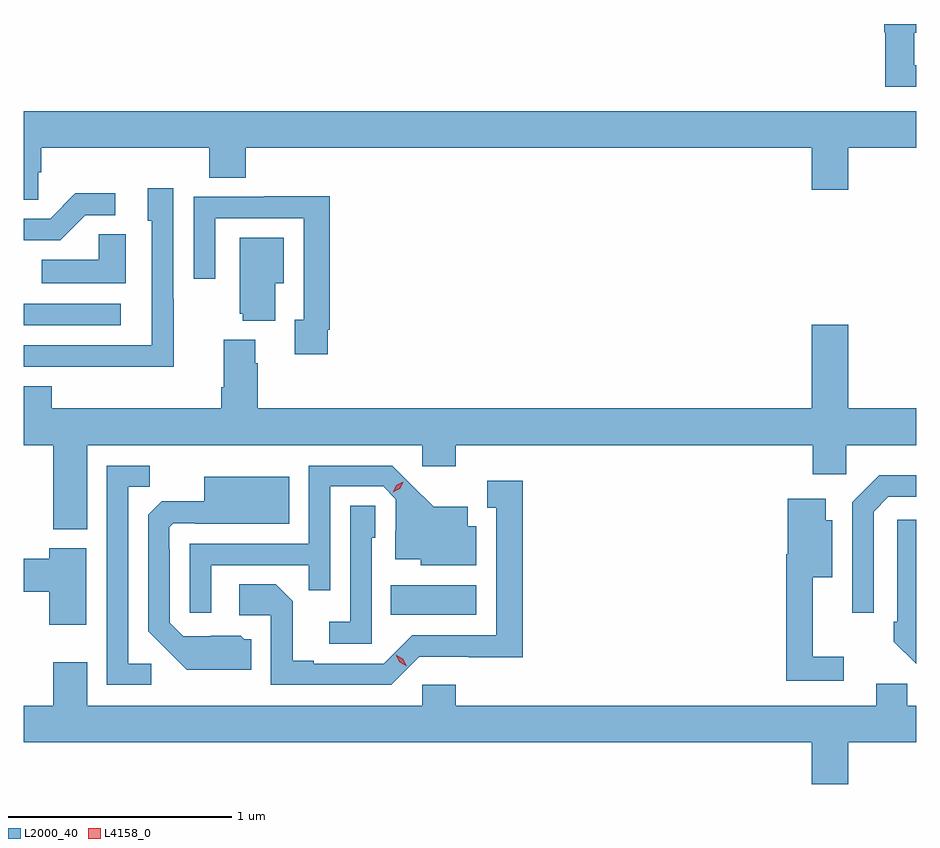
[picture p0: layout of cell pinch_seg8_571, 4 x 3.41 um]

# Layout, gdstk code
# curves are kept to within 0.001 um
import gdstk
lib = gdstk.Library(unit=1e-6, precision=1e-09)
def R(c, l, rs):  # rectangles x0, y0, x1, y1
    for r in rs: c.add(gdstk.rectangle(r[:2], r[2:], *l))
def P(c, l, *ps):  # polygons
    for p in ps: c.add(gdstk.Polygon(p, *l))
L2000_40 = (2000, 40)
L4158_0 = (4158, 0)

pinch_seg8_571 = lib.new_cell('pinch_seg8_571')
R(pinch_seg8_571, L2000_40, [(163.12,1083.77,163.504,1083.904), (161.475,1085.07,161.908,1085.166)])
P(pinch_seg8_571, L2000_40, [(165.475,1086.235),(165.466,1086.235),(165.466,1086.38),(165.475,1086.38),(165.475,1086.42),(165.332,1086.42),(165.332,1086.384),(165.337,1086.384),(165.337,1086.138),(165.475,1086.138)],
  [(161.538,1085.755),(161.552,1085.755),(161.552,1085.864),(162.305,1085.864),(162.305,1085.731),(162.47,1085.731),(162.47,1085.864),(165.008,1085.864),(165.008,1085.676),(165.172,1085.676),(165.172,1085.864),(165.475,1085.864),(165.475,1086.028),(161.475,1086.028),(161.475,1085.632),(161.538,1085.632)],
  [(162.147,1085.189),(162.144,1085.189),(162.144,1085.683),(162.029,1085.683),(162.029,1085.538),(162.048,1085.538),(162.048,1084.98),(161.475,1084.98),(161.475,1084.884),(161.683,1084.884),(161.683,1084.883),(162.147,1084.883)],
  [(161.749,1085.562),(161.884,1085.562),(161.884,1085.66),(161.705,1085.66),(161.592,1085.547),(161.475,1085.547),(161.475,1085.451),(161.638,1085.451)],
  [(162.838,1085.05),(162.845,1085.05),(162.845,1085.648),(162.553,1085.648),(162.553,1085.646),(162.237,1085.646),(162.237,1085.277),(162.333,1085.277),(162.333,1085.55),(162.729,1085.55),(162.729,1085.094),(162.689,1085.094),(162.689,1084.938),(162.838,1084.938)],
  [(161.932,1085.477),(161.811,1085.477),(161.811,1085.362),(161.554,1085.362),(161.554,1085.258),(161.932,1085.258)],
  [(162.601,1085.258),(162.64,1085.258),(162.64,1085.461),(162.443,1085.461),(162.443,1085.121),(162.455,1085.121),(162.455,1085.09),(162.601,1085.09)],
  [(161.6,1084.795),(161.475,1084.795),(161.475,1084.532),(161.606,1084.532),(161.606,1084.154),(161.758,1084.154),(161.758,1084.532),(163.26,1084.532),(163.26,1084.437),(163.412,1084.437),(163.412,1084.532),(165.011,1084.532),(165.011,1084.401),(165.162,1084.401),(165.162,1084.532),(165.475,1084.532),(165.475,1084.696),(165.172,1084.696),(165.172,1085.071),(165.008,1085.071),(165.008,1084.696),(162.524,1084.696),(162.524,1084.898),(162.511,1084.898),(162.511,1085.005),(162.371,1085.005),(162.371,1084.792),(162.359,1084.792),(162.359,1084.696),(161.6,1084.696)],
  [(162.046,1083.552),(161.943,1083.552),(161.943,1084.345),(162.039,1084.345),(162.039,1084.44),(161.847,1084.44),(161.847,1083.456),(162.046,1083.456)],
  [(162.315,1083.993),(162.751,1083.993),(162.751,1083.88),(162.849,1083.88),(162.849,1084.347),(163.086,1084.347),(163.143,1084.29),(163.143,1084.148),(163.139,1084.148),(163.139,1084.019),(163.254,1084.019),(163.254,1083.992),(163.504,1083.992),(163.504,1084.168),(163.465,1084.168),(163.465,1084.255),(163.313,1084.255),(163.126,1084.44),(162.753,1084.44),(162.753,1084.089),(162.219,1084.089),(162.219,1083.78),(162.315,1083.78)],
  [(165.285,1084.233),(165.351,1084.299),(165.475,1084.299),(165.475,1084.396),(165.31,1084.396),(165.189,1084.275),(165.189,1083.78),(165.285,1083.78)],
  [(162.493,1083.66),(162.462,1083.66),(162.446,1083.676),(162.189,1083.675),(162.129,1083.735),(162.129,1084.064),(162.126,1084.064),(162.126,1084.164),(162.144,1084.182),(162.244,1084.182),(162.244,1084.178),(162.664,1084.178),(162.664,1084.39),(162.284,1084.39),(162.284,1084.279),(162.092,1084.279),(162.033,1084.22),(162.033,1083.698),(162.205,1083.524),(162.493,1083.524)],
  [(163.248,1083.582),(163.711,1083.581),(163.711,1084.372),(163.553,1084.372),(163.553,1084.251),(163.592,1084.251),(163.592,1083.678),(163.215,1083.678),(163.089,1083.552),(162.775,1083.552),(162.775,1083.565),(162.681,1083.565),(162.681,1083.832),(162.605,1083.908),(162.441,1083.908),(162.441,1083.768),(162.582,1083.768),(162.582,1083.456),(163.122,1083.456)],
  [(165.151,1083.583),(165.011,1083.583),(165.011,1083.938),(165.1,1083.938),(165.1,1084.195),(165.07,1084.195),(165.07,1084.291),(164.9,1084.291),(164.9,1084.042),(164.893,1084.042),(164.893,1083.474),(165.151,1083.474)],
  [(163.035,1084.116),(163.05,1084.116),(163.05,1084.259),(162.939,1084.259),(162.939,1083.739),(162.843,1083.739),(162.843,1083.642),(163.035,1083.642)],
  [(165.475,1084.197),(165.39,1084.197),(165.39,1083.739),(165.375,1083.739),(165.375,1083.651),(165.475,1083.551)],
  [(161.755,1084.069),(161.588,1084.069),(161.588,1084.022),(161.475,1084.022),(161.475,1083.875),(161.588,1083.875),(161.588,1083.726),(161.755,1083.726)],
  [(165.172,1083.2),(165.475,1083.2),(165.475,1083.364),(165.435,1083.364),(165.435,1083.462),(165.296,1083.462),(165.296,1083.364),(163.412,1083.364),(163.412,1083.457),(163.26,1083.457),(163.26,1083.364),(161.758,1083.364),(161.758,1083.559),(161.606,1083.559),(161.606,1083.364),(161.475,1083.364),(161.475,1083.2),(165.008,1083.2),(165.008,1083.012),(165.172,1083.012)])
P(pinch_seg8_571, L4158_0, [(163.191,1083.54),(163.16,1083.559),(163.142,1083.591),(163.142,1083.591),(163.142,1083.591),(163.174,1083.573),(163.192,1083.54),(163.192,1083.54)],
  [(163.128,1084.321),(163.128,1084.321),(163.145,1084.351),(163.176,1084.367),(163.176,1084.367),(163.176,1084.366),(163.159,1084.337),(163.129,1084.321)])

lib.write_gds('pinch_seg8_571.gds')
